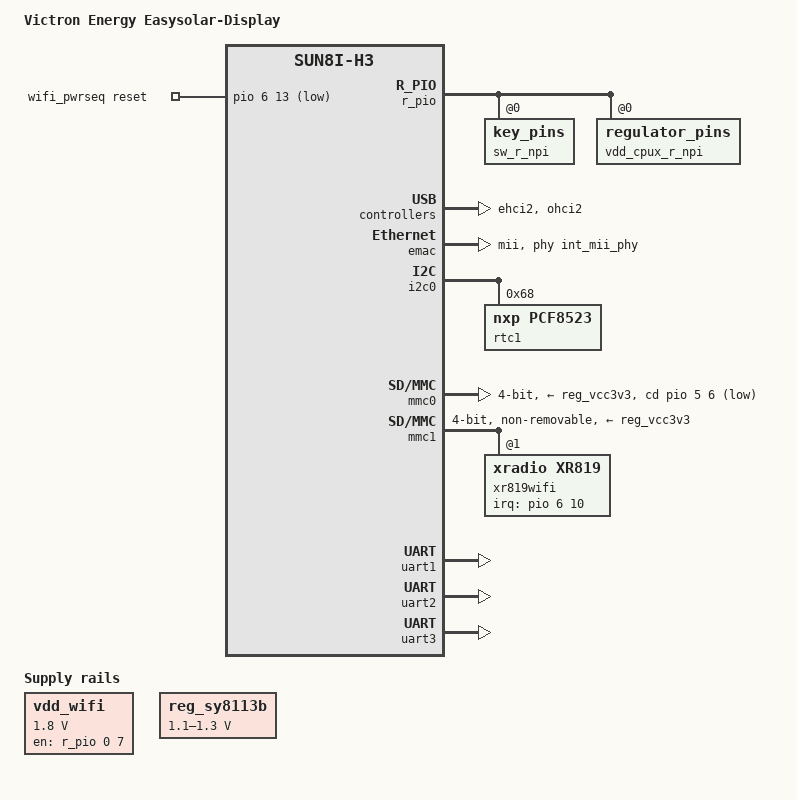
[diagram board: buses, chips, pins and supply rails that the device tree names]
/*
 * Copyright (C) 2016 James Pettigrew <james@innovum.com.au>
 *
 * This file is dual-licensed: you can use it either under the terms
 * of the GPL or the X11 license, at your option. Note that this dual
 * licensing only applies to this file, and not this project as a
 * whole.
 *
 *  a) This file is free software; you can redistribute it and/or
 *	 modify it under the terms of the GNU General Public License as
 *	 published by the Free Software Foundation; either version 2 of the
 *	 License, or (at your option) any later version.
 *
 *	 This file is distributed in the hope that it will be useful,
 *	 but WITHOUT ANY WARRANTY; without even the implied warranty of
 *	 MERCHANTABILITY or FITNESS FOR A PARTICULAR PURPOSE.  See the
 *	 GNU General Public License for more details.
 *
 * Or, alternatively,
 *
 *  b) Permission is hereby granted, free of charge, to any person
 *	 obtaining a copy of this software and associated documentation
 *	 files (the "Software"), to deal in the Software without
 *	 restriction, including without limitation the rights to use,
 *	 copy, modify, merge, publish, distribute, sublicense, and/or
 *	 sell copies of the Software, and to permit persons to whom the
 *	 Software is furnished to do so, subject to the following
 *	 conditions:
 *
 *	 The above copyright notice and this permission notice shall be
 *	 included in all copies or substantial portions of the Software.
 *
 *	 THE SOFTWARE IS PROVIDED "AS IS", WITHOUT WARRANTY OF ANY KIND,
 *	 EXPRESS OR IMPLIED, INCLUDING BUT NOT LIMITED TO THE WARRANTIES
 *	 OF MERCHANTABILITY, FITNESS FOR A PARTICULAR PURPOSE AND
 *	 NONINFRINGEMENT. IN NO EVENT SHALL THE AUTHORS OR COPYRIGHT
 *	 HOLDERS BE LIABLE FOR ANY CLAIM, DAMAGES OR OTHER LIABILITY,
 *	 WHETHER IN AN ACTION OF CONTRACT, TORT OR OTHERWISE, ARISING
 *	 FROM, OUT OF OR IN CONNECTION WITH THE SOFTWARE OR THE USE OR
 *	 OTHER DEALINGS IN THE SOFTWARE.
 */

#include "sun8i-h3-nanopi.dtsi"

/ {
	model = "Victron Energy Easysolar-Display";
	compatible = "friendlyarm,nanopi-neo", "allwinner,sun8i-h3";

	aliases {
		serial0 = &uart0;
		/* ethernet0 is the H3 emac, defined in sun8i-h3.dtsi */
		ethernet0 = &emac;
		ethernet1 = &xr819wifi;
 	};

	chosen {
				stdout-path = "serial0:115200n8";
	};

	vdd_wifi: vdd_wifi {
		compatible = "regulator-fixed";
		regulator-name = "wifi";
		regulator-min-microvolt = <1800000>;
		regulator-max-microvolt = <1800000>;
		gpio = <&r_pio 0 7 GPIO_ACTIVE_HIGH>;				// GPIOL7/WIFI_POWER_EN
		startup-delay-us = <70000>;
		enable-active-high;
	};

	reg_sy8113b: gpio-regulator {
			compatible = "regulator-gpio";
			regulator-name = "vdd-cpux";
			regulator-type = "voltage";
			regulator-boot-on;
			regulator-always-on;
			regulator-min-microvolt = <1100000>;
			regulator-max-microvolt = <1300000>;
			regulator-ramp-delay = <50>; /* 4ms */

			gpios = <&r_pio 0 6 GPIO_ACTIVE_HIGH>; /* PL6 */
			enable-active-high;
			gpios-states = <0x1>;
			states = <1100000 0x0
					  1300000 0x1>;
	};

	wifi_pwrseq: wifi_pwrseq {
		compatible = "mmc-pwrseq-simple";
		pinctrl-names = "default";
		pinctrl-0 = <&wifi_en_npi>;
		reset-gpios = <&pio 6 13 GPIO_ACTIVE_LOW>;		  // GPIOG13/WL_RESTN
		post-power-on-delay-ms = <50>;
	};
};

&pio {
	wifi_wake: wifi_wake@0 {
		pins = "PG10";
		function = "irq";
	};

	wifi_en_npi: wifi_en_pin {
		pins = "PG13";
		function = "gpio_out";
	};
};

&r_pio {
	sw_r_npi: key_pins@0 {
		pins = "PL3";
		function = "gpio_in";
	};

	vdd_cpux_r_npi: regulator_pins@0 {
		pins = "PL6";
		function = "gpio_out";
	};

	usb2_vbus_en_npi: usb2_vbus_pin {
		pins = "PL11";
		function = "gpio_out";
	};
};

&ehci2 {
	status = "okay";
};

&ohci2 {
	status = "okay";
};

&reg_usb2_vbus {
	status = "okay";
	gpio = <&r_pio 0 11 GPIO_ACTIVE_HIGH>;		  // GPIOL11/VUSB_ENABLE
	pinctrl-names = "default";
	pinctrl-0 = <&usb2_vbus_en_npi>;
};

&usbphy {
	usb2_vbus-supply = <&reg_usb2_vbus>;
};

&emac {
	phy-handle = <&int_mii_phy>;
	phy-mode = "mii";
	allwinner,leds-active-low;
	status = "okay";
};

&cpu0 {
	cpu-supply = <&reg_sy8113b>;
};

&spi0 {
	pitft@0 {
		status = "diabled";
	};

	pitft-ts@1 {
		status = "disabled";
	};
};

&spi1 {
	status = "disabled";
};

&rtc {
	status = "disabled";
};

&i2c0 {
	status = "okay";
	rtc1: pcf8523@68 {
		compatible = "nxp,pcf8523";
		status = "okay";
		reg = <0x68>;
	};

//	expander0: pca9555@20 {
//		compatible = "nxp,pca9555";
//		status = "okay";
//		reg = <0x20>;
//	};
};

&mmc0 {
	bus-width = <4>;
	cd-gpios = <&pio 5 6 GPIO_ACTIVE_HIGH>;
	cd-inverted;
	pinctrl-names = "default";
	pinctrl-0 = <&mmc0_pins_a>, <&mmc0_cd_pin>;
	status = "okay";
	vmmc-supply = <&reg_vcc3v3>;
};

&mmc1 {
	pinctrl-names = "default";
	pinctrl-0 = <&mmc1_pins_a>;
	vqmmc-supply = <&vdd_wifi>;
	vmmc-supply = <&reg_vcc3v3>;
	mmc-pwrseq = <&wifi_pwrseq>;
	bus-width = <4>;
	non-removable;
	status = "okay";

	xr819wifi: xr819wifi@1 {
		reg = <1>;
		compatible = "xradio,xr819";
		pinctrl-names = "default";
		pinctrl-0 = <&wifi_wake>;
		interrupt-parent = <&pio>;
		interrupts = <6 10 IRQ_TYPE_EDGE_RISING>;
		interrupt-names = "host-wake";
		local-mac-address = [dc 44 6d c0 ff ee];
	};
};

&mmc1_pins_a {
	bias-pull-up;
};


&uart1 {
	pinctrl-names = "default";
	pinctrl-0 = <&uart1_pins>;
	status = "okay";
};

&uart2 {
	pinctrl-names = "default";
	pinctrl-0 = <&uart2_pins>;
	status = "okay";
};

&uart3 {
	pinctrl-names = "default";
	pinctrl-0 = <&uart3_pins>;
	status = "okay";
};

